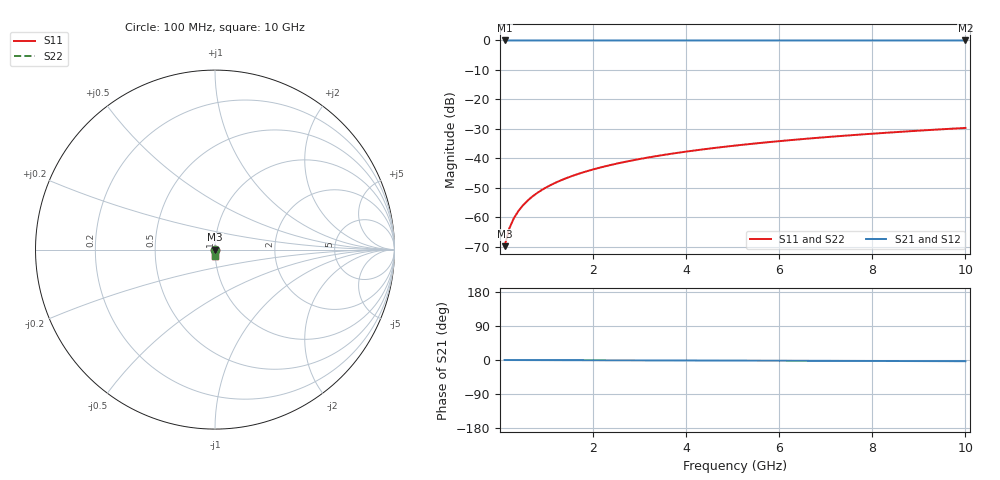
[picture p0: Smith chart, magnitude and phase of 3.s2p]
# Hz S RI R 50.00
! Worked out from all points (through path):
!   100 points, 100 MHz to 10 GHz, reference 50 ohm
!   highest |S21| = 0.00 dB at 100 MHz (marker M1); lowest = 0.0 dB at 10 GHz (marker M2)
!   lowest |S11| = -69.7 dB at 100 MHz (marker M3), VSWR 1.00, Z = 50 - j0.0325 ohm
!   |S11| at or under -10 dB: start of sweep to end of sweep
!   |S22| runs from -69.7 to -29.6 dB; largest |S21 - S12| = 0
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1e8  3e-05 -0.000325  1 -0.000545  1 -0.000545  3e-05 -0.000325
2e8  2.93e-05 -0.00065  1 -0.00109  1 -0.00109  2.93e-05 -0.00065
3e8  2.81e-05 -0.000975  1 -0.00164  1 -0.00164  2.81e-05 -0.000975
4e8  2.66e-05 -0.0013  1 -0.00218  1 -0.00218  2.66e-05 -0.0013
5e8  2.47e-05 -0.00163  1 -0.00273  1 -0.00273  2.47e-05 -0.00163
6e8  2.24e-05 -0.00195  1 -0.00327  1 -0.00327  2.24e-05 -0.00195
7e8  1.98e-05 -0.00228  1 -0.00382  1 -0.00382  1.98e-05 -0.00228
8e8  1.68e-05 -0.0026  1 -0.00436  1 -0.00436  1.68e-05 -0.0026
9e8  1.34e-05 -0.00293  0.9999 -0.00491  0.9999 -0.00491  1.34e-05 -0.00293
1.1e9  5.62e-06 -0.00358  0.9999 -0.006  0.9999 -0.006  5.62e-06 -0.00358
1.4e9  -8.78e-06 -0.00456  0.9999 -0.00764  0.9999 -0.00764  -8.78e-06 -0.00456
1.8e9  -3.3e-05 -0.00586  0.9999 -0.00983  0.9999 -0.00983  -3.3e-05 -0.00586
2.1e9  -5.5e-05 -0.00684  0.9999 -0.0115  0.9999 -0.0115  -5.5e-05 -0.00684
2.5e9  -8.93e-05 -0.00815  0.9998 -0.0137  0.9998 -0.0137  -8.93e-05 -0.00815
2.9e9  -0.000129 -0.00946  0.9998 -0.0159  0.9998 -0.0159  -0.000129 -0.00946
3.4e9  -0.000188 -0.0111  0.9997 -0.0186  0.9997 -0.0186  -0.000188 -0.0111
4.2e9  -0.0003 -0.0137  0.9996 -0.023  0.9996 -0.023  -0.0003 -0.0137
5.1e9  -0.000455 -0.0167  0.9994 -0.028  0.9994 -0.028  -0.000455 -0.0167
5.9e9  -0.000617 -0.0193  0.9992 -0.0324  0.9992 -0.0324  -0.000617 -0.0193
6.7e9  -0.000803 -0.022  0.999 -0.0368  0.999 -0.0368  -0.000803 -0.022
8.4e9  -0.00128 -0.0276  0.9985 -0.0463  0.9985 -0.0463  -0.00128 -0.0276
1e10  -0.00183 -0.0329  0.9979 -0.0552  0.9979 -0.0552  -0.00183 -0.0329
